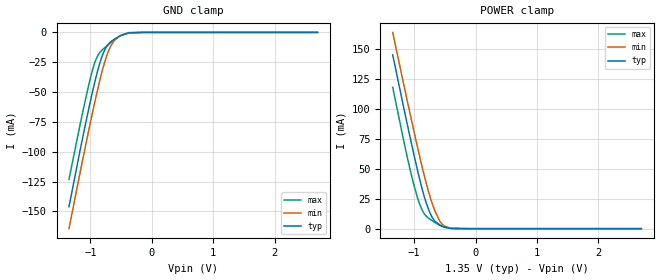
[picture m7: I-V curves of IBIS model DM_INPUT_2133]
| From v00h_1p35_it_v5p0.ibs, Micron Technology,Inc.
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| MODEL DM_INPUT_2133 (DM Input Model with no ODT, 2133Mbps)
[Model]   DM_INPUT_2133
Model_type   Input
Vinl = 545.000mV
Vinh = 805.000mV
|   typ   min   max
|C_comp   1.100pF   1.025pF   1.175pF
C_comp_power_clamp   0.5500pF   0.5125pF   0.5875pF
C_comp_gnd_clamp   0.5500pF   0.5125pF   0.5875pF
[Model Spec]
| Input threshold voltage corners
Vinl   0.5450V   0.5115V   0.5825V
Vinh   0.8050V   0.7715V   0.8425V
| Dynamic Overshoot Parameters from DDR3L Specification
D_overshoot_ampl_h   0.40   NA   NA
D_overshoot_ampl_l   0.40   NA   NA
D_overshoot_area_h   0.10n   NA   NA
D_overshoot_area_l   0.10n   NA   NA
[Receiver Thresholds]
Vth   =  0.675V
Vth_min  =  0.6615V
Vth_max  =  0.6885V
Vinh_ac  =  0.130V
Vinh_dc  =  0.090V
Vinl_ac  = -0.130V
Vinl_dc  = -0.090V
Tslew_ac =  5.000ns |Not specified, so set to high value
Threshold_sensitivity = 0.50
Reference_supply Power_clamp_ref
[Voltage Range]   1.3500V   1.2830V   1.4250V
[POWER Clamp Reference]   1.3500V   1.2830V   1.4250V
| Junction Temperature (Ambient temp is 35C typ, 95C min, -40C max)
[Temperature Range]   50.0   110.0   -40.0
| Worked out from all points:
|   GND clamp passes 1 mA (typ) near -0.41 V on its own axis
|   POWER clamp passes 1 mA (typ) near -0.47 V on its own axis
[GND Clamp]
|   Voltage   I(typ)   I(min)   I(max)
-1.35V    -146.1mA   -164.4mA   -123.2mA
-1.106V   -83.13mA   -101.6mA   -62.16mA
-984.1mV  -53.77mA   -71.48mA   -34.89mA
-931.5mV  -42.09mA   -59.01mA   -25.59mA
-873.4mV  -30.41mA   -45.87mA   -18.77mA
-809.9mV  -19.97mA   -32.64mA   -14.81mA
-762.9mV  -14.3mA    -24.1mA    -12.61mA
-716.2mV  -10.39mA   -17.03mA   -10.54mA
-629mV    -6.347mA   -7.938mA   -6.901mA
-528.9mV  -3.282mA   -3.265mA   -3.286mA
-367.2mV  -379.2uA   -433.5uA   -183.9uA
2.7V      0A         0A         0A
[POWER Clamp]
|   Voltage   I(typ)   I(min)   I(max)
-1.35V    145.1mA    163.8mA    118mA
-1.083V   80.08mA    99.66mA    52.97mA
-990.9mV  58.71mA    78.24mA    33.81mA
-901.1mV  39.23mA    58.12mA    19.14mA
-818.5mV  23.82mA    40.78mA    11.22mA
-722.6mV  10.97mA    23.52mA    7.193mA
-662.9mV  6.175mA    14.84mA    5.166mA
-585.3mV  3.162mA    6.434mA    2.856mA
-524.9mV  1.788mA    2.8mA      1.436mA
-402.3mV  294.8uA    422.8uA    113.6uA
-133.7mV  286.8nA    1.419uA    0A
2.7V      0A         0A         0A
